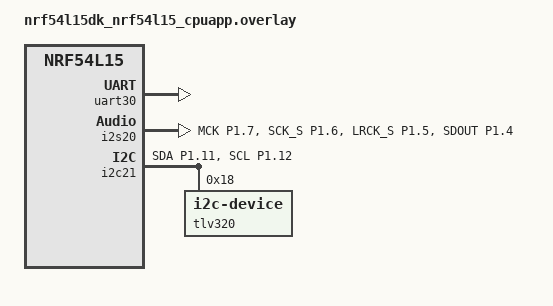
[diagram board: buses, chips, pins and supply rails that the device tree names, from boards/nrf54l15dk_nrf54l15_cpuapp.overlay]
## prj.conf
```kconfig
CONFIG_BT=y
CONFIG_BT_PERIPHERAL=y
CONFIG_LOG=y
CONFIG_BT_DEVICE_NAME="Zephyr ISO server"
CONFIG_BT_ISO_PERIPHERAL=y
CONFIG_BT_SMP=y

CONFIG_BT_KEYS_OVERWRITE_OLDEST=y
CONFIG_BT_SETTINGS=y
CONFIG_FLASH=y
CONFIG_FLASH_MAP=y
CONFIG_NVS=y
CONFIG_SETTINGS=y


CONFIG_BT_ISO_MAX_CHAN=1

CONFIG_THREAD_NAME=y
CONFIG_BT_BUF_EVT_RX_COUNT=20
CONFIG_BT_ISO_RX_BUF_COUNT=16
CONFIG_FPU=y
CONFIG_LIBLC3=y
CONFIG_BT_BUF_ACL_RX_SIZE=255
CONFIG_BT_BUF_ACL_TX_SIZE=251
CONFIG_NRFX_I2S=y
CONFIG_CLOCK_CONTROL=y
CONFIG_I2C=y
CONFIG_RING_BUFFER=y
CONFIG_MAIN_STACK_SIZE=8192
CONFIG_SYSTEM_WORKQUEUE_STACK_SIZE=8192
CONFIG_PCM_MIX=y
CONFIG_BT_RX_STACK_SIZE=12000
CONFIG_BT_LOG_SNIFFER_INFO=y
```

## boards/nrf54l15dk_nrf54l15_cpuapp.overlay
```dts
/ {
	aliases {
		i2s-node0 = &i2s20;
		i2c-slave = &i2c22;
    };
};


/ {
	chosen {
		zephyr,shell-uart = &uart30;
		zephyr,console = &uart30;
	};
};

&uart30 {
	status = "okay";
};

&uart20 {
	status = "disabled";
};

&pinctrl {
	i2s20_default: i2s20_default {
		group1 {
			psels = <NRF_PSEL(I2S_MCK, 1, 7)>,
					<NRF_PSEL(I2S_SCK_S, 1, 6)>,
					<NRF_PSEL(I2S_LRCK_S, 1, 5)>,
					<NRF_PSEL(I2S_SDOUT, 1, 4)>;
		};
	};

	i2s20_sleep: i2s20_sleep {
		group1 {
			psels = <NRF_PSEL(I2S_MCK, 1, 7)>,
					<NRF_PSEL(I2S_SCK_S, 1, 6)>,
					<NRF_PSEL(I2S_LRCK_S, 1, 5)>,
					<NRF_PSEL(I2S_SDOUT, 1, 4)>;
			low-power-enable;
		};
	};
	i2c21_default_alt: i2c21_default_alt {
		group1 {
			psels = <NRF_PSEL(TWIM_SDA, 1, 11)>,
				<NRF_PSEL(TWIM_SCL, 1, 12)>;
		};
	};

	i2c21_sleep_alt: i2c21_sleep_alt {
		group1 {
			psels = <NRF_PSEL(TWIM_SDA, 1, 11)>,
				<NRF_PSEL(TWIM_SCL, 1, 12)>;
			low-power-enable;
		};
	};

};

&i2s20 {
	status = "okay";
	pinctrl-0 = <&i2s20_default>;
	pinctrl-1 = <&i2s20_sleep>;
	pinctrl-names = "default", "sleep";
};

&i2c21 {
	compatible = "nordic,nrf-twim";
	status = "okay";
	pinctrl-0 = <&i2c21_default_alt>;
	pinctrl-1 = <&i2c21_sleep_alt>;
	pinctrl-names = "default", "sleep";
	tlv320: tlv320@18 {
        compatible = "i2c-device";
        status = "okay";
		reg = <0x18>;
	};
};
```

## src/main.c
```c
/*
 * Copyright (c) 2021-2025 Nordic Semiconductor ASA
 *
 * SPDX-License-Identifier: Apache-2.0
 */

/* Standard includes */
#include <errno.h>
#include <stddef.h>
#include <string.h>
#include <zephyr/types.h>

/* Zephyr includes */
#include <zephyr/kernel.h>
#include <zephyr/sys/printk.h>
#include <zephyr/sys/byteorder.h>
#include <zephyr/sys/ring_buffer.h>
#include <zephyr/sys_clock.h>
#include <zephyr/settings/settings.h>

/* Bluetooth includes */
#include <zephyr/bluetooth/bluetooth.h>
#include <zephyr/bluetooth/conn.h>
#include <zephyr/bluetooth/hci.h>
#include <zephyr/bluetooth/hci_types.h>
#include <zephyr/bluetooth/iso.h>

/* Driver includes */
#include <zephyr/drivers/clock_control/nrf_clock_control.h>
#include <zephyr/drivers/gpio.h>
#include <zephyr/drivers/i2c.h>
#include <zephyr/drivers/pinctrl.h>

/* Nordic includes */
#include <nrfx_clock.h>
#include <nrfx_i2s.h>
#include <pcm_mix.h>

/* Audio codec includes */
#include "lc3.h"

/* Platform specific includes */

#if defined(NRF54L15_XXAA)
#include <hal/nrf_clock.h>
#endif

/* Audio configuration */
#define MAX_SAMPLE_RATE			48000
#define MAX_FRAME_DURATION_US		10000
#define MAX_NUM_SAMPLES			((MAX_FRAME_DURATION_US * MAX_SAMPLE_RATE) / USEC_PER_SEC)

/* I2S configuration */
#define I2S_SAMPLES_NUM			48
#define BUFFER_SPACE			60
#define I2S_BUFFER_SIZE			(I2S_SAMPLES_NUM * 2 * sizeof(uint16_t))

/* Jitter buffer configuration */
#define JITTER_BUFFER_SIZE		3
#define JITTER_BUFFER_CHECK		2

/* TLV320 DAC configuration */
#define I2C_NODE			DT_NODELABEL(tlv320)
#define DEFAULT_VOLUME			-60

/* Device tree nodes */
#define I2S_NL				DT_NODELABEL(i2s20)

/* GPIO configuration */
static const struct gpio_dt_spec led = GPIO_DT_SPEC_GET(DT_ALIAS(led0), gpios);
static const struct gpio_dt_spec rst = GPIO_DT_SPEC_GET(DT_ALIAS(led3), gpios);
static const struct device *gpio;

/* I2C configuration */
static const struct i2c_dt_spec dev_i2c = I2C_DT_SPEC_GET(I2C_NODE);

/* I2S configuration */
PINCTRL_DT_DEFINE(I2S_NL);
static nrfx_i2s_t i2s_inst = NRFX_I2S_INSTANCE(NRF_I2S20);
static nrfx_i2s_config_t cfg = {
	.skip_gpio_cfg = true,
	.skip_psel_cfg = true,
	.irq_priority = DT_IRQ(I2S_NL, priority),
	.mode = NRF_I2S_MODE_SLAVE,
	.format = NRF_I2S_FORMAT_I2S,
	.alignment = NRF_I2S_ALIGN_LEFT,
	.prescalers = {
		.ratio = NRF_I2S_RATIO_64X,
		.mck_setup = NRF_I2S_MCK_32MDIV2,
	},
	.sample_width = NRF_I2S_SWIDTH_16BIT,
	.channels = NRF_I2S_CHANNELS_STEREO,
};

/* Audio buffers */
static uint16_t i2s_tx_buf_a[I2S_SAMPLES_NUM * 2] = {0};
static uint16_t i2s_tx_buf_b[I2S_SAMPLES_NUM * 2] = {0};
static uint16_t i2s_rx_buf_a[I2S_SAMPLES_NUM * 2] = {0};
static uint16_t i2s_rx_buf_b[I2S_SAMPLES_NUM * 2] = {0};

RING_BUF_DECLARE(i2s_tx_ring_buf, I2S_BUFFER_SIZE * BUFFER_SPACE);

/* LC3 decoder configuration */
static lc3_decoder_t lc3_decoder[2];
static lc3_decoder_mem_48k_t lc3_decoder_mem[2];

/* Bluetooth advertising data */
static const struct bt_data ad[] = {
	BT_DATA(BT_DATA_NAME_COMPLETE, CONFIG_BT_DEVICE_NAME, sizeof(CONFIG_BT_DEVICE_NAME) - 1),
};

static const struct bt_data sd[] = {
	BT_DATA_BYTES(BT_DATA_FLAGS, (BT_LE_AD_GENERAL | BT_LE_AD_NO_BREDR)),
};

/* Packet information structure for jitter buffer */
struct recv_pkt_info {
	uint32_t sdu_ref_us;
	uint32_t recv_frame_ts_us;
	uint8_t channel;
	bool bad_frame;
	uint8_t size;
	uint8_t desired_data_size;
	uint8_t buf[CONFIG_BT_ISO_RX_MTU];
} __packed;
static void adv_work_handler(struct k_work *work);
K_MSGQ_DEFINE(recv_pkt_msgq_l, sizeof(struct recv_pkt_info), JITTER_BUFFER_SIZE, 4);
K_WORK_DEFINE(adv_work, adv_work_handler);

/* Function declarations */


/**
 * @brief Write register to TLV320 DAC via I2C
 */
static void dac_i2c_write(const struct i2c_dt_spec *dev_i2c, uint8_t reg, uint8_t value)
{
	int ret;
	uint8_t config[2] = {reg, value};

	ret = i2c_write_dt(dev_i2c, config, sizeof(config));
	if (ret != 0) {
		printk("Failed to write to I2C device address %x at reg. %x\n", dev_i2c->addr, reg);
	}
}

/**
 * @brief Setup TLV320 DAC configuration
 */
static void tlv320_setup(void)
{
	if (!device_is_ready(dev_i2c.bus)) {
		printk("I2C bus %s is not ready!\n", dev_i2c.bus->name);
		return;
	}
	printk("I2C bus %s is ready!\n", dev_i2c.bus->name);

	/* Reset and basic configuration */
	dac_i2c_write(&dev_i2c, 0x00, 0x00);
	dac_i2c_write(&dev_i2c, 0x01, 0x01);
	k_sleep(K_MSEC(10));

	/* Clock and PLL configuration */
	dac_i2c_write(&dev_i2c, 0x04, 0x03 | (0b11 << 0));
	dac_i2c_write(&dev_i2c, 0x05, (0b001 << 4) | (0b0001 << 0));
	dac_i2c_write(&dev_i2c, 0x06, 0x05);
	dac_i2c_write(&dev_i2c, 0x07, 0x0E);
	dac_i2c_write(&dev_i2c, 0x08, 0xB0);

	dac_i2c_write(&dev_i2c, 0x05, (1 << 7) | (0b001 << 4) | (0b0001 << 0));
	k_sleep(K_MSEC(15));

	/* Audio interface configuration */
	dac_i2c_write(&dev_i2c, 0x0B, 0x87);
	dac_i2c_write(&dev_i2c, 0x0C, 0x82);
	dac_i2c_write(&dev_i2c, 0x0D, 0x00);
	dac_i2c_write(&dev_i2c, 0x0E, 0x80);

	/* Processing and power configuration */
	dac_i2c_write(&dev_i2c, 0x1B, 0x0C);
	dac_i2c_write(&dev_i2c, 0x1E, 0x84);
	dac_i2c_write(&dev_i2c, 0x1D, (0b01 << 0));
	dac_i2c_write(&dev_i2c, 0x3C, 0x01);
	dac_i2c_write(&dev_i2c, 0x74, 0x00);

	/* Output configuration */
	dac_i2c_write(&dev_i2c, 0x00, 0x01);
	dac_i2c_write(&dev_i2c, 0x1F, (0b00 << 3));
	dac_i2c_write(&dev_i2c, 0x21, (0b0111 << 3) | (0b11 << 1));
	dac_i2c_write(&dev_i2c, 0x23, 0x44);
	dac_i2c_write(&dev_i2c, 0x24, 0x80);
	dac_i2c_write(&dev_i2c, 0x25, 0x80);
	dac_i2c_write(&dev_i2c, 0x28, 0x06);
	dac_i2c_write(&dev_i2c, 0x29, 0x06);
	dac_i2c_write(&dev_i2c, 0x1F, 0xC0 | (0b00 << 3));

	k_sleep(K_MSEC(300));

	/* Volume configuration */
	dac_i2c_write(&dev_i2c, 0x00, 0x00);
	dac_i2c_write(&dev_i2c, 0x3F, 0xD4);
	dac_i2c_write(&dev_i2c, 0x41, DEFAULT_VOLUME);
	dac_i2c_write(&dev_i2c, 0x42, DEFAULT_VOLUME);
	dac_i2c_write(&dev_i2c, 0x40, 0x00);
}

/**
 * @brief Start high frequency clock
 */
static int clocks_start(void)
{
	int err, res;
	struct onoff_manager *clk_mgr;
	struct onoff_client clk_cli;

	clk_mgr = z_nrf_clock_control_get_onoff(CLOCK_CONTROL_NRF_SUBSYS_HF);
	if (!clk_mgr) {
		printk("Unable to get the Clock manager\n");
		return -ENXIO;
	}

	sys_notify_init_spinwait(&clk_cli.notify);

	err = onoff_request(clk_mgr, &clk_cli);
	if (err < 0) {
		printk("Clock request failed: %d\n", err);
		return err;
	}

	do {
		err = sys_notify_fetch_result(&clk_cli.notify, &res);
		if (!err && res) {
			printk("Clock could not be started: %d\n", res);
			return res;
		}
	} while (err);

#if defined(NRF54L15_XXAA)
	nrf_clock_task_trigger(NRF_CLOCK, NRF_CLOCK_TASK_PLLSTART);
#endif

	printk("HF clock started\n");
	return 0;
}

/**
 * @brief Set next I2S buffer
 */
static void audio_i2s_set_next_buf(const uint8_t *tx_buf, uint32_t *rx_buf)
{
	const nrfx_i2s_buffers_t i2s_buf = {
		.p_rx_buffer = rx_buf,
		.p_tx_buffer = (uint32_t *)tx_buf,
		.buffer_size = I2S_SAMPLES_NUM
	};

	int ret = nrfx_i2s_next_buffers_set(&i2s_inst, &i2s_buf);
	if (ret != 0) {
		printk("Failed to set next buffers: %x\n", ret);
	}
}

/**
 * @brief I2S completion handler
 */
static void i2s_comp_handler(nrfx_i2s_buffers_t const *released_bufs, uint32_t status)
{
	int ret;

	if (status == NRFX_I2S_STATUS_NEXT_BUFFERS_NEEDED) {
		if ((uint16_t *)released_bufs->p_tx_buffer == i2s_tx_buf_a) {
			ret = ring_buf_get(&i2s_tx_ring_buf, (uint8_t *)i2s_tx_buf_a, I2S_BUFFER_SIZE);
			if (ret != I2S_BUFFER_SIZE) {
				memset(i2s_tx_buf_a, 0, I2S_BUFFER_SIZE);
			}
			audio_i2s_set_next_buf((const uint8_t *)i2s_tx_buf_a, (uint32_t *)i2s_rx_buf_a);
		} else if ((uint16_t *)released_bufs->p_tx_buffer == i2s_tx_buf_b) {
			ret = ring_buf_get(&i2s_tx_ring_buf, (uint8_t *)i2s_tx_buf_b, I2S_BUFFER_SIZE);
			if (ret != I2S_BUFFER_SIZE) {
				memset(i2s_tx_buf_b, 0, I2S_BUFFER_SIZE);
			}
			audio_i2s_set_next_buf((const uint8_t *)i2s_tx_buf_b, (uint32_t *)i2s_rx_buf_b);
		}
	}
}

/**
 * @brief Start I2S interface
 */
static void audio_i2s_start(const uint8_t *tx_buf, uint32_t *rx_buf)
{
	const nrfx_i2s_buffers_t i2s_buf = {
		.p_rx_buffer = rx_buf,
		.p_tx_buffer = (uint32_t *)tx_buf,
		.buffer_size = I2S_SAMPLES_NUM
	};

	int ret = nrfx_i2s_start(&i2s_inst, &i2s_buf, 0);
	if (ret != NRFX_SUCCESS) {
		printk("Failed to start I2S: %d\n", ret);
	}
}

/**
 * @brief Initialize I2S interface
 */
static void audio_i2s_init(void)
{
	int ret;

	ret = pinctrl_apply_state(PINCTRL_DT_DEV_CONFIG_GET(I2S_NL), PINCTRL_STATE_DEFAULT);
	if (ret != 0) {
		printk("Failed to apply pinctrl state: %d\n", ret);
		return;
	}

	IRQ_CONNECT(DT_IRQN(I2S_NL), DT_IRQ(I2S_NL, priority), nrfx_i2s_irq_handler,
		    &i2s_inst, 0);
	irq_enable(DT_IRQN(I2S_NL));

	ret = nrfx_i2s_init(&i2s_inst, &cfg, i2s_comp_handler);
	if (ret != NRFX_SUCCESS) {
		printk("Failed to initialize I2S: %x\n", ret);
	}
}

/**
 * @brief Advertising work handler
 */
static void adv_work_handler(struct k_work *work)
{
	int err = bt_le_adv_start(BT_LE_ADV_CONN_FAST_1, ad, ARRAY_SIZE(ad), sd, ARRAY_SIZE(sd));
	if (err) {
		printk("Advertising failed to start (err %d)\n", err);
	} else {
		printk("Advertising successfully started\n");
	}
}

/**
 * @brief Connection established callback
 */
static void connected(struct bt_conn *conn, uint8_t err)
{
	char addr[BT_ADDR_LE_STR_LEN];

	bt_addr_le_to_str(bt_conn_get_dst(conn), addr, sizeof(addr));

	if (err) {
		printk("Failed to connect to %s %u %s\n", addr, err, bt_hci_err_to_str(err));
		return;
	}

	printk("Connected %s\n", addr);
}

/**
 * @brief Connection lost callback
 */
static void disconnected(struct bt_conn *conn, uint8_t reason)
{
	char addr[BT_ADDR_LE_STR_LEN];

	bt_addr_le_to_str(bt_conn_get_dst(conn), addr, sizeof(addr));
	printk("Disconnected from %s, reason 0x%02x %s\n", addr, reason, bt_hci_err_to_str(reason));
	
	k_work_submit(&adv_work);
}

BT_CONN_CB_DEFINE(conn_callbacks) = {
	.connected = connected,
	.disconnected = disconnected,
};

/**
 * @brief ISO data received callback
 */
static void iso_recv(struct bt_iso_chan *chan, const struct bt_iso_recv_info *info,
		     struct net_buf *buf)
{
	static int packet_count = 0;
	
	if (++packet_count % 100 == 0) {
		/* Periodic logging for debugging */
	}

	struct recv_pkt_info pkt_info = {
		.sdu_ref_us = info->ts,
		.channel = 0,
		.size = buf->len,
		.bad_frame = (buf->len == 0 || ((info->flags & BT_ISO_FLAGS_VALID) == 0))
	};

	if (!pkt_info.bad_frame) {
		memcpy(pkt_info.buf, buf->data, buf->len);
	}

	/* Add packet to jitter buffer */
	int ret = k_msgq_put(&recv_pkt_msgq_l, &pkt_info, K_NO_WAIT);
	if (ret != 0 && ret != -ENOMSG) {
		printk("L: MsgQ full: %d\n", ret);
		struct recv_pkt_info dummy_pkt;
		k_msgq_get(&recv_pkt_msgq_l, &dummy_pkt, K_NO_WAIT);
		k_msgq_put(&recv_pkt_msgq_l, &pkt_info, K_NO_WAIT);
	}

	/* Process packets when jitter buffer has enough data */
	if (k_msgq_num_used_get(&recv_pkt_msgq_l) >= JITTER_BUFFER_CHECK) {
		struct recv_pkt_info pkt_info_l;
		k_msgq_get(&recv_pkt_msgq_l, &pkt_info_l, K_NO_WAIT);

		/* Monitor ring buffer and adjust DAC clock */
		static uint16_t prev_buf_size = 0;
		uint16_t buf_size = ring_buf_space_get(&i2s_tx_ring_buf);
		
		if (buf_size != prev_buf_size) {
			prev_buf_size = buf_size;
			int16_t buf_size_percent = buf_size * 100 / (I2S_BUFFER_SIZE * BUFFER_SPACE);
			printk("%d\n", buf_size_percent);

			/* Adjust DAC clock based on buffer fill level */
			if (buf_size_percent < 45) {
				dac_i2c_write(&dev_i2c, 0x07, 0x0E);
				dac_i2c_write(&dev_i2c, 0x08, 0xDA);
			} else if (buf_size_percent >= 40 && buf_size_percent <= 55) {
				dac_i2c_write(&dev_i2c, 0x07, 0x0E);
				dac_i2c_write(&dev_i2c, 0x08, 0xB0);
			} else {
				dac_i2c_write(&dev_i2c, 0x07, 0x0E);
				dac_i2c_write(&dev_i2c, 0x08, 0x86);
			}
		}

		/* Decode LC3 audio */
		int16_t audio_buf[2 * 480] = {0};
		int err = lc3_decode(lc3_decoder[0],
				     pkt_info_l.bad_frame ? NULL : pkt_info_l.buf,
				     pkt_info_l.size, LC3_PCM_FORMAT_S16,
				     audio_buf, 2);
		if (err != 0) {
			/* Handle decode error silently */
		}

		/* Add decoded audio to ring buffer */
		ring_buf_put(&i2s_tx_ring_buf, (uint8_t *)audio_buf, 480 * 2 * sizeof(int16_t));
	}
}

/**
 * @brief ISO channel connected callback
 */
static void iso_connected(struct bt_iso_chan *chan)
{
	const struct bt_iso_chan_path hci_path = {
		.pid = BT_ISO_DATA_PATH_HCI,
		.format = BT_HCI_CODING_FORMAT_TRANSPARENT,
	};

	printk("ISO Channel %p connected\n", chan);

	int err = bt_iso_setup_data_path(chan, BT_HCI_DATAPATH_DIR_CTLR_TO_HOST, &hci_path);
	if (err != 0) {
		printk("Failed to setup ISO RX data path: %d", err);
	}
}

/**
 * @brief ISO channel disconnected callback
 */
static void iso_disconnected(struct bt_iso_chan *chan, uint8_t reason)
{
	printk("ISO Channel %p disconnected (reason 0x%02x)\n", chan, reason);
}

static struct bt_iso_chan_ops iso_ops = {
	.recv = iso_recv,
	.connected = iso_connected,
	.disconnected = iso_disconnected,
};

static struct bt_iso_chan_io_qos iso_rx = {
	.sdu = CONFIG_BT_ISO_TX_MTU,
};

static struct bt_iso_chan_qos iso_qos = {
	.rx = &iso_rx,
	.tx = NULL,
};

static struct bt_iso_chan iso_chan = {
	.ops = &iso_ops,
	.qos = &iso_qos,
};

/**
 * @brief Accept incoming ISO connection
 */
static int iso_accept(const struct bt_iso_accept_info *info, struct bt_iso_chan **chan)
{
	printk("Incoming request from %p\n", (void *)info->acl);

	if (iso_chan.iso) {
		printk("No channels available\n");
		return -ENOMEM;
	}

	*chan = &iso_chan;
	return 0;
}

static struct bt_iso_server iso_server = {
#if defined(CONFIG_BT_SMP)
	.sec_level = BT_SECURITY_L1,
#endif
	.accept = iso_accept,
};

/**
 * @brief Main application entry point
 */
int main(void)
{
	int err;

	/* Initialize GPIO */
	gpio = DEVICE_DT_GET(DT_NODELABEL(gpio0));
	gpio_pin_configure_dt(&led, GPIO_OUTPUT);
	gpio_pin_configure_dt(&rst, GPIO_OUTPUT);

	/* Start clocks and reset DAC */
	clocks_start();
	gpio_pin_set_dt(&rst, 0);
	k_sleep(K_MSEC(1000));
	gpio_pin_set_dt(&rst, 1);
	tlv320_setup();

	/* Initialize Bluetooth */
	err = bt_enable(NULL);
	if (err) {
		printk("Bluetooth init failed (err %d)\n", err);
		return 0;
	}

	if (IS_ENABLED(CONFIG_SETTINGS)) {
		settings_load();
	}

	printk("Bluetooth initialized\n");

	/* Register ISO server */
	err = bt_iso_server_register(&iso_server);
	if (err) {
		printk("Unable to register ISO server (err %d)\n", err);
		return 0;
	}

	/* Initialize LC3 decoders */
	for (int i = 0; i < 2; i++) {
		lc3_decoder[i] = lc3_setup_decoder(10000, 16000, 48000, &lc3_decoder_mem[i]);
	}

	/* Start advertising and audio */
	k_work_submit(&adv_work);
	audio_i2s_init();
	audio_i2s_start((uint8_t *)i2s_tx_buf_a, (uint32_t *)i2s_rx_buf_a);
	audio_i2s_set_next_buf((const uint8_t *)i2s_tx_buf_b, (uint32_t *)i2s_rx_buf_b);

	printk("System initialized and ready\n");
	return 0;
}
```
